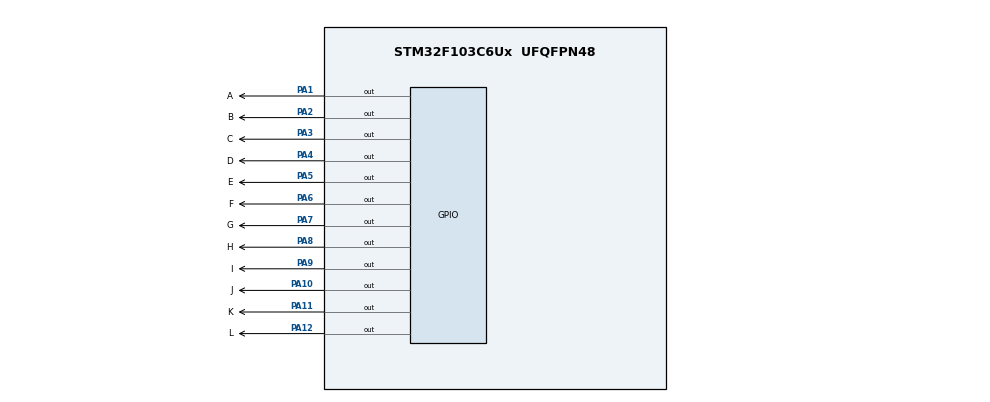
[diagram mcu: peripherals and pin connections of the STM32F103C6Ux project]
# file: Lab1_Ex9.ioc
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Mcu.Family=STM32F1
Mcu.Name=STM32F103C6Ux
Mcu.Package=UFQFPN48
NVIC.PriorityGroup=NVIC_PRIORITYGROUP_4
PA1.GPIO_Label=A
PA1.Signal=GPIO_Output
PA10.GPIO_Label=J
PA10.Signal=GPIO_Output
PA11.GPIO_Label=K
PA11.Signal=GPIO_Output
PA12.GPIO_Label=L
PA12.Signal=GPIO_Output
PA2.GPIO_Label=B
PA2.Signal=GPIO_Output
PA3.GPIO_Label=C
PA3.Signal=GPIO_Output
PA4.GPIO_Label=D
PA4.Signal=GPIO_Output
PA5.GPIO_Label=E
PA5.Signal=GPIO_Output
PA6.GPIO_Label=F
PA6.Signal=GPIO_Output
PA7.GPIO_Label=G
PA7.Signal=GPIO_Output
PA8.GPIO_Label=H
PA8.Signal=GPIO_Output
PA9.GPIO_Label=I
PA9.Signal=GPIO_Output
ProjectManager.HeapSize=0x200
ProjectManager.StackSize=0x400
ProjectManager.TargetToolchain=STM32CubeIDE
RCC.APB1Freq_Value=8000000
RCC.APB2Freq_Value=8000000
VP_SYS_VS_ND.Mode=No_Debug
board=custom

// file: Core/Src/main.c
/* USER CODE BEGIN Header */
/**
  ******************************************************************************
  * @file           : main.c
  * @brief          : Main program body
  ******************************************************************************
  * @attention
  *
  * <h2><center>&copy; Copyright (c) 2023 STMicroelectronics.
  * All rights reserved.</center></h2>
  *
  * This software component is licensed by ST under BSD 3-Clause license,
  * the "License"; You may not use this file except in compliance with the
  * License. You may obtain a copy of the License at:
  *                        opensource.org/licenses/BSD-3-Clause
  *
  ******************************************************************************
  */
/* USER CODE END Header */
#include "main.h"

void SystemClock_Config(void);
static void MX_GPIO_Init(void);

void clearNumberOnClock(int num){
	if(num == 0){
		HAL_GPIO_WritePin(L_GPIO_Port, L_Pin, SET);
		HAL_GPIO_WritePin(A_GPIO_Port, A_Pin, RESET);
	}
	else if(num == 1){
		HAL_GPIO_WritePin(A_GPIO_Port, A_Pin, SET);
		HAL_GPIO_WritePin(B_GPIO_Port, B_Pin, RESET);
	}
	else if(num == 2){
		HAL_GPIO_WritePin(B_GPIO_Port, B_Pin, SET);
		HAL_GPIO_WritePin(C_GPIO_Port, C_Pin, RESET);
	}
	else if(num == 3){
		HAL_GPIO_WritePin(C_GPIO_Port, C_Pin, SET);
		HAL_GPIO_WritePin(D_GPIO_Port, D_Pin, RESET);
	}
	else if(num == 4){
		HAL_GPIO_WritePin(D_GPIO_Port, D_Pin, SET);
		HAL_GPIO_WritePin(E_GPIO_Port, E_Pin, RESET);
	}
	else if(num == 5){
		HAL_GPIO_WritePin(E_GPIO_Port, E_Pin, SET);
		HAL_GPIO_WritePin(F_GPIO_Port, F_Pin, RESET);
	}
	else if(num == 6){
		HAL_GPIO_WritePin(F_GPIO_Port, F_Pin, SET);
		HAL_GPIO_WritePin(G_GPIO_Port, G_Pin, RESET);
	}
	else if(num == 7){
		HAL_GPIO_WritePin(G_GPIO_Port, G_Pin, SET);
		HAL_GPIO_WritePin(H_GPIO_Port, H_Pin, RESET);
	}
	else if(num == 8){
		HAL_GPIO_WritePin(H_GPIO_Port, H_Pin, SET);
		HAL_GPIO_WritePin(I_GPIO_Port, I_Pin, RESET);
	}
	else if(num == 9){
		HAL_GPIO_WritePin(I_GPIO_Port, I_Pin, SET);
		HAL_GPIO_WritePin(J_GPIO_Port, J_Pin, RESET);
	}
	else if(num == 10){
		HAL_GPIO_WritePin(J_GPIO_Port, J_Pin, SET);
		HAL_GPIO_WritePin(K_GPIO_Port, K_Pin, RESET);
	}
	else if(num == 11){
		HAL_GPIO_WritePin(K_GPIO_Port, K_Pin, SET);
		HAL_GPIO_WritePin(L_GPIO_Port, L_Pin, RESET);
	}
}
int main(void)
{

  /* MCU Configuration--------------------------------------------------------*/

  /* Reset of all peripherals, Initializes the Flash interface and the Systick. */
  HAL_Init();

  /* Configure the system clock */
  SystemClock_Config();

  /* Initialize all configured peripherals */
  MX_GPIO_Init();

  /* Infinite loop */
  /* USER CODE BEGIN WHILE */
//  void clearNumberOnClock(int num){
//  	if(num == 0){
//  		HAL_GPIO_WritePin(L_GPIO_Port, L_Pin, SET);
//  		HAL_GPIO_WritePin(A_GPIO_Port, A_Pin, RESET);
//  	}
//  	else if(num == 1){
//  		HAL_GPIO_WritePin(A_GPIO_Port, A_Pin, SET);
//  		HAL_GPIO_WritePin(B_GPIO_Port, B_Pin, RESET);
//  	}
//  	else if(num == 2){
//  		HAL_GPIO_WritePin(B_GPIO_Port, B_Pin, SET);
//  		HAL_GPIO_WritePin(C_GPIO_Port, C_Pin, RESET);
//  	}
//  	else if(num == 3){
//  		HAL_GPIO_WritePin(C_GPIO_Port, C_Pin, SET);
//  		HAL_GPIO_WritePin(D_GPIO_Port, D_Pin, RESET);
//  	}
//  	else if(num == 4){
//  		HAL_GPIO_WritePin(D_GPIO_Port, D_Pin, SET);
//  		HAL_GPIO_WritePin(E_GPIO_Port, E_Pin, RESET);
//  	}
//  	else if(num == 5){
//  		HAL_GPIO_WritePin(E_GPIO_Port, E_Pin, SET);
//  		HAL_GPIO_WritePin(F_GPIO_Port, F_Pin, RESET);
//  	}
//  	else if(num == 6){
//  		HAL_GPIO_WritePin(F_GPIO_Port, F_Pin, SET);
//  		HAL_GPIO_WritePin(G_GPIO_Port, G_Pin, RESET);
//  	}
//  	else if(num == 7){
//  		HAL_GPIO_WritePin(G_GPIO_Port, G_Pin, SET);
//  		HAL_GPIO_WritePin(H_GPIO_Port, H_Pin, RESET);
//  	}
//  	else if(num == 8){
//  		HAL_GPIO_WritePin(H_GPIO_Port, H_Pin, SET);
//  		HAL_GPIO_WritePin(I_GPIO_Port, I_Pin, RESET);
//  	}
//  	else if(num == 9){
//  		HAL_GPIO_WritePin(I_GPIO_Port, I_Pin, SET);
//  		HAL_GPIO_WritePin(J_GPIO_Port, J_Pin, RESET);
//  	}
//  	else if(num == 10){
//  		HAL_GPIO_WritePin(J_GPIO_Port, J_Pin, SET);
//  		HAL_GPIO_WritePin(K_GPIO_Port, K_Pin, RESET);
//  	}
//  	else if(num == 11){
//  		HAL_GPIO_WritePin(K_GPIO_Port, K_Pin, SET);
//  		HAL_GPIO_WritePin(L_GPIO_Port, L_Pin, RESET);
//  	}
//  }
  HAL_GPIO_WritePin(A_GPIO_Port, A_Pin, SET);
  HAL_GPIO_WritePin(B_GPIO_Port, B_Pin, SET);
  HAL_GPIO_WritePin(C_GPIO_Port, C_Pin, SET);
  HAL_GPIO_WritePin(D_GPIO_Port, D_Pin, SET);
  HAL_GPIO_WritePin(E_GPIO_Port, E_Pin, SET);
  HAL_GPIO_WritePin(F_GPIO_Port, F_Pin, SET);
  HAL_GPIO_WritePin(G_GPIO_Port, G_Pin, SET);
  HAL_GPIO_WritePin(H_GPIO_Port, H_Pin, SET);
  HAL_GPIO_WritePin(I_GPIO_Port, I_Pin, SET);
  HAL_GPIO_WritePin(J_GPIO_Port, J_Pin, SET);
  HAL_GPIO_WritePin(K_GPIO_Port, K_Pin, SET);
  HAL_GPIO_WritePin(L_GPIO_Port, L_Pin, SET);
  HAL_Delay(2000);
  int count = 0;
  while (1)
  {
	  clearNumberOnClock(count);
	  count++;
	  if(count== 12)
		  count = 0;
	  HAL_Delay(1000);
    /* USER CODE END WHILE */

  }
}

void SystemClock_Config(void)
{
  RCC_OscInitTypeDef RCC_OscInitStruct = {0};
  RCC_ClkInitTypeDef RCC_ClkInitStruct = {0};

  /** Initializes the RCC Oscillators according to the specified parameters
  * in the RCC_OscInitTypeDef structure.
  */
  RCC_OscInitStruct.OscillatorType = RCC_OSCILLATORTYPE_HSI;
  RCC_OscInitStruct.HSIState = RCC_HSI_ON;
  RCC_OscInitStruct.HSICalibrationValue = RCC_HSICALIBRATION_DEFAULT;
  RCC_OscInitStruct.PLL.PLLState = RCC_PLL_NONE;
  if (HAL_RCC_OscConfig(&RCC_OscInitStruct) != HAL_OK)
  {
    Error_Handler();
  }
  /** Initializes the CPU, AHB and APB buses clocks
  */
  RCC_ClkInitStruct.ClockType = RCC_CLOCKTYPE_HCLK|RCC_CLOCKTYPE_SYSCLK
                              |RCC_CLOCKTYPE_PCLK1|RCC_CLOCKTYPE_PCLK2;
  RCC_ClkInitStruct.SYSCLKSource = RCC_SYSCLKSOURCE_HSI;
  RCC_ClkInitStruct.AHBCLKDivider = RCC_SYSCLK_DIV1;
  RCC_ClkInitStruct.APB1CLKDivider = RCC_HCLK_DIV1;
  RCC_ClkInitStruct.APB2CLKDivider = RCC_HCLK_DIV1;

  if (HAL_RCC_ClockConfig(&RCC_ClkInitStruct, FLASH_LATENCY_0) != HAL_OK)
  {
    Error_Handler();
  }
}

static void MX_GPIO_Init(void)
{
  GPIO_InitTypeDef GPIO_InitStruct = {0};

  /* GPIO Ports Clock Enable */
  __HAL_RCC_GPIOA_CLK_ENABLE();

  /*Configure GPIO pin Output Level */
  HAL_GPIO_WritePin(GPIOA, A_Pin|B_Pin|C_Pin|D_Pin
                          |E_Pin|F_Pin|G_Pin|H_Pin
                          |I_Pin|J_Pin|K_Pin|L_Pin, GPIO_PIN_RESET);

  /*Configure GPIO pins : A_Pin B_Pin C_Pin D_Pin
                           E_Pin F_Pin G_Pin H_Pin
                           I_Pin J_Pin K_Pin L_Pin */
  GPIO_InitStruct.Pin = A_Pin|B_Pin|C_Pin|D_Pin
                          |E_Pin|F_Pin|G_Pin|H_Pin
                          |I_Pin|J_Pin|K_Pin|L_Pin;
  GPIO_InitStruct.Mode = GPIO_MODE_OUTPUT_PP;
  GPIO_InitStruct.Pull = GPIO_NOPULL;
  GPIO_InitStruct.Speed = GPIO_SPEED_FREQ_LOW;
  HAL_GPIO_Init(GPIOA, &GPIO_InitStruct);

}

void Error_Handler(void)
{
  __disable_irq();
  while (1)
  {
  }
}

/************************ (C) COPYRIGHT STMicroelectronics *****END OF FILE****/
